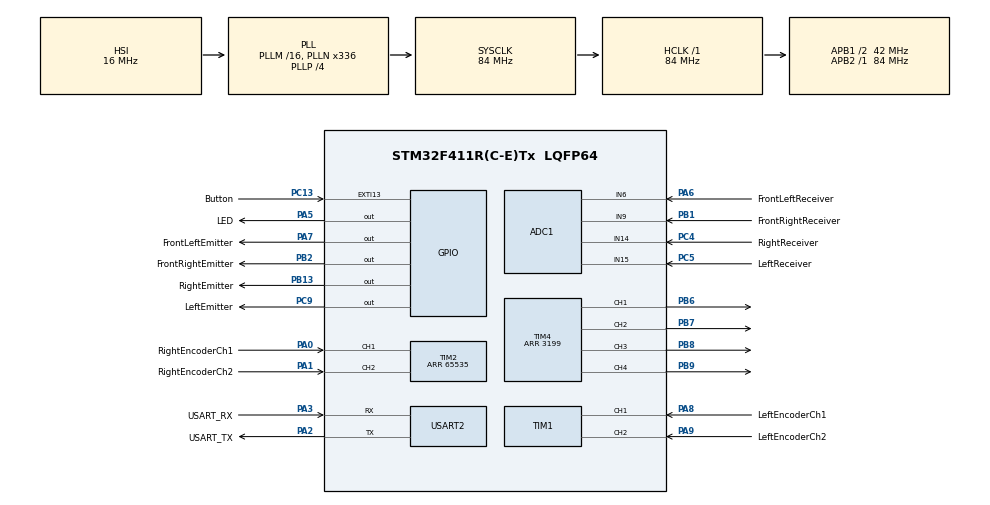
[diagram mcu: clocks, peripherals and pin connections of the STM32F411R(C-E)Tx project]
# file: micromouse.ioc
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ADC1.Channel-0\#ChannelRegularConversion=ADC_CHANNEL_15
ADC1.ContinuousConvMode=ENABLE
ADC1.DMAContinuousRequests=ENABLE
ADC1.NbrOfConversionFlag=1
ADC1.Rank-0\#ChannelRegularConversion=1
ADC1.SamplingTime-0\#ChannelRegularConversion=ADC_SAMPLETIME_3CYCLES
ADC1.master=1
Dma.ADC1.0.Direction=DMA_PERIPH_TO_MEMORY
Dma.ADC1.0.FIFOMode=DMA_FIFOMODE_DISABLE
Dma.ADC1.0.Instance=DMA2_Stream0
Dma.ADC1.0.MemDataAlignment=DMA_MDATAALIGN_HALFWORD
Dma.ADC1.0.MemInc=DMA_MINC_ENABLE
Dma.ADC1.0.Mode=DMA_CIRCULAR
Dma.ADC1.0.PeriphDataAlignment=DMA_PDATAALIGN_HALFWORD
Dma.ADC1.0.PeriphInc=DMA_PINC_DISABLE
Dma.ADC1.0.Priority=DMA_PRIORITY_LOW
Dma.Request0=ADC1
Mcu.Family=STM32F4
Mcu.Name=STM32F411R(C-E)Tx
Mcu.Package=LQFP64
NVIC.DMA2_Stream0_IRQn=true\:0\:0\:false\:false\:true\:false\:true\:true
NVIC.EXTI15_10_IRQn=true\:0\:0\:false\:false\:true\:true\:true\:true
NVIC.PriorityGroup=NVIC_PRIORITYGROUP_0
NVIC.TIM4_IRQn=true\:0\:0\:false\:false\:true\:true\:true\:true
PA0-WKUP.GPIO_Label=RightEncoderCh1
PA0-WKUP.Signal=S_TIM2_CH1_ETR
PA1.GPIO_Label=RightEncoderCh2
PA1.Signal=S_TIM2_CH2
PA13.GPIO_Label=TMS
PA13.Mode=Serial_Wire
PA13.Signal=SYS_JTMS-SWDIO
PA14.GPIO_Label=TCK
PA14.Mode=Serial_Wire
PA14.Signal=SYS_JTCK-SWCLK
PA2.GPIO_Label=USART_TX
PA2.Mode=Asynchronous
PA2.Signal=USART2_TX
PA3.GPIO_Label=USART_RX
PA3.Mode=Asynchronous
PA3.Signal=USART2_RX
PA5.GPIO_Label=LED
PA5.Signal=GPIO_Output
PA6.GPIO_Label=FrontLeftReceiver
PA6.Signal=ADCx_IN6
PA7.GPIO_Label=FrontLeftEmitter
PA7.Signal=GPIO_Output
PA8.GPIO_Label=LeftEncoderCh1
PA8.Signal=S_TIM1_CH1
PA9.GPIO_Label=LeftEncoderCh2
PA9.Signal=S_TIM1_CH2
PB1.GPIO_Label=FrontRightReceiver
PB1.Signal=ADCx_IN9
PB13.GPIO_Label=RightEmitter
PB13.Signal=GPIO_Output
PB2.GPIO_Label=FrontRightEmitter
PB2.Signal=GPIO_Output
PB3.GPIO_Label=SWO
PB3.Signal=SYS_JTDO-SWO
PB6.Signal=S_TIM4_CH1
PB7.Signal=S_TIM4_CH2
PB8.Signal=S_TIM4_CH3
PB9.Signal=S_TIM4_CH4
PC13-ANTI_TAMP.GPIO_Label=Button
PC13-ANTI_TAMP.GPIO_ModeDefaultEXTI=GPIO_MODE_IT_RISING_FALLING
PC13-ANTI_TAMP.Signal=GPXTI13
PC14-OSC32_IN.Mode=LSE-External-Oscillator
PC14-OSC32_IN.Signal=RCC_OSC32_IN
PC15-OSC32_OUT.Mode=LSE-External-Oscillator
PC15-OSC32_OUT.Signal=RCC_OSC32_OUT
PC4.GPIO_Label=RightReceiver
PC4.Signal=ADCx_IN14
PC5.GPIO_Label=LeftReceiver
PC5.Signal=ADCx_IN15
PC9.GPIO_Label=LeftEmitter
PC9.Signal=GPIO_Output
PH0\ -\ OSC_IN.Mode=HSE-External-Clock-Source
PH0\ -\ OSC_IN.Signal=RCC_OSC_IN
PH1\ -\ OSC_OUT.Mode=HSE-External-Clock-Source
PH1\ -\ OSC_OUT.Signal=RCC_OSC_OUT
ProjectManager.HeapSize=0x200
ProjectManager.StackSize=0x400
ProjectManager.TargetToolchain=STM32CubeIDE
RCC.48MHZClocksFreq_Value=84000000
RCC.AHBFreq_Value=84000000
RCC.APB1CLKDivider=RCC_HCLK_DIV2
RCC.APB1Freq_Value=42000000
RCC.APB1TimFreq_Value=84000000
RCC.APB2Freq_Value=84000000
RCC.APB2TimFreq_Value=84000000
RCC.CortexFreq_Value=84000000
RCC.FLatency-AdvancedSettings=FLASH_LATENCY_2
RCC.HCLKFreq_Value=84000000
RCC.HSE_VALUE=8000000
RCC.HSI_VALUE=16000000
RCC.PLLN=336
RCC.PLLP=RCC_PLLP_DIV4
RCC.SYSCLKFreq_VALUE=84000000
RCC.SYSCLKSource=RCC_SYSCLKSOURCE_PLLCLK
RCC.VCOOutputFreq_Value=336000000
SH.ADCx_IN14.0=ADC1_IN14,IN14
SH.ADCx_IN15.0=ADC1_IN15,IN15
SH.ADCx_IN6.0=ADC1_IN6,IN6
SH.ADCx_IN9.0=ADC1_IN9,IN9
SH.S_TIM1_CH1.0=TIM1_CH1,Encoder_Interface
SH.S_TIM1_CH2.0=TIM1_CH2,Encoder_Interface
SH.S_TIM2_CH1_ETR.0=TIM2_CH1,Encoder_Interface
SH.S_TIM2_CH2.0=TIM2_CH2,Encoder_Interface
SH.S_TIM4_CH1.0=TIM4_CH1,PWM Generation1 CH1
SH.S_TIM4_CH2.0=TIM4_CH2,PWM Generation2 CH2
SH.S_TIM4_CH3.0=TIM4_CH3,PWM Generation3 CH3
SH.S_TIM4_CH4.0=TIM4_CH4,PWM Generation4 CH4
TIM1.EncoderMode=TIM_ENCODERMODE_TI12
TIM2.EncoderMode=TIM_ENCODERMODE_TI12
TIM2.Period=65535
TIM4.Channel-PWM\ Generation1\ CH1=TIM_CHANNEL_1
TIM4.Channel-PWM\ Generation2\ CH2=TIM_CHANNEL_2
TIM4.Channel-PWM\ Generation3\ CH3=TIM_CHANNEL_3
TIM4.Channel-PWM\ Generation4\ CH4=TIM_CHANNEL_4
TIM4.Period=3199
USART2.VirtualMode=VM_ASYNC
board=NUCLEO-F411RE

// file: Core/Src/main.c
/* USER CODE BEGIN Header */
/**
  ******************************************************************************
  * @file           : main.c
  * @brief          : Main program body
  ******************************************************************************
  * @attention
  *
  * Copyright (c) 2023 STMicroelectronics.
  * All rights reserved.
  *
  * This software is licensed under terms that can be found in the LICENSE file
  * in the root directory of this software component.
  * If no LICENSE file comes with this software, it is provided AS-IS.
  *
  ******************************************************************************
  */
/* USER CODE END Header */
#include "main.h"

/* USER CODE BEGIN Includes */
#include "encoders.h"
#include "motors.h"
#include "controller.h"
#include "delay.h"

/* USER CODE END Includes */

ADC_HandleTypeDef hadc1;
DMA_HandleTypeDef hdma_adc1;

TIM_HandleTypeDef htim1;
TIM_HandleTypeDef htim2;
TIM_HandleTypeDef htim4;

UART_HandleTypeDef huart2;

/* USER CODE BEGIN PV */
int16_t left_counts = 0;
int16_t right_counts = 0;

/* USER CODE END PV */

void SystemClock_Config(void);
static void MX_GPIO_Init(void);
static void MX_DMA_Init(void);
static void MX_USART2_UART_Init(void);
static void MX_TIM1_Init(void);
static void MX_TIM2_Init(void);
static void MX_TIM4_Init(void);
static void MX_ADC1_Init(void);

int main(void)
{

  /* MCU Configuration--------------------------------------------------------*/

  /* Reset of all peripherals, Initializes the Flash interface and the Systick. */
  HAL_Init();

  /* USER CODE BEGIN Init */
  Delay_Init();
  /* USER CODE END Init */

  /* Configure the system clock */
  SystemClock_Config();

  /* Initialize all configured peripherals */
  MX_GPIO_Init();
  MX_DMA_Init();
  MX_USART2_UART_Init();
  MX_TIM1_Init();
  MX_TIM2_Init();
  MX_TIM4_Init();
  MX_ADC1_Init();
  /* USER CODE BEGIN 2 */
  // Encoders
  HAL_TIM_Encoder_Start(&htim1, TIM_CHANNEL_ALL);
  HAL_TIM_Encoder_Start(&htim2, TIM_CHANNEL_ALL);

  // PWM
  HAL_TIM_PWM_Start(&htim4, TIM_CHANNEL_1);
  HAL_TIM_PWM_Start(&htim4, TIM_CHANNEL_2);
  HAL_TIM_PWM_Start(&htim4, TIM_CHANNEL_3);
  HAL_TIM_PWM_Start(&htim4, TIM_CHANNEL_4);

  // Set motors
//  setMotorLPWM(0.5);
//  setMotorRPWM(-0.3);
  turn(1);
  HAL_Delay(500);
  turn(2);
  HAL_Delay(500);
  turn(3);
  HAL_Delay(500);
  turn(4);
  HAL_Delay(500);
  move(4);

  /* USER CODE END 2 */

  /* Infinite loop */
  /* USER CODE BEGIN WHILE */
  while (1)
  {
	 left_counts = getLeftEncoderCounts();
	 right_counts = getRightEncoderCounts();

    /* USER CODE END WHILE */

  }
}

void SystemClock_Config(void)
{
  RCC_OscInitTypeDef RCC_OscInitStruct = {0};
  RCC_ClkInitTypeDef RCC_ClkInitStruct = {0};

  /** Configure the main internal regulator output voltage
  */
  __HAL_RCC_PWR_CLK_ENABLE();
  __HAL_PWR_VOLTAGESCALING_CONFIG(PWR_REGULATOR_VOLTAGE_SCALE1);

  /** Initializes the RCC Oscillators according to the specified parameters
  * in the RCC_OscInitTypeDef structure.
  */
  RCC_OscInitStruct.OscillatorType = RCC_OSCILLATORTYPE_HSI;
  RCC_OscInitStruct.HSIState = RCC_HSI_ON;
  RCC_OscInitStruct.HSICalibrationValue = RCC_HSICALIBRATION_DEFAULT;
  RCC_OscInitStruct.PLL.PLLState = RCC_PLL_ON;
  RCC_OscInitStruct.PLL.PLLSource = RCC_PLLSOURCE_HSI;
  RCC_OscInitStruct.PLL.PLLM = 16;
  RCC_OscInitStruct.PLL.PLLN = 336;
  RCC_OscInitStruct.PLL.PLLP = RCC_PLLP_DIV4;
  RCC_OscInitStruct.PLL.PLLQ = 4;
  if (HAL_RCC_OscConfig(&RCC_OscInitStruct) != HAL_OK)
  {
    Error_Handler();
  }

  /** Initializes the CPU, AHB and APB buses clocks
  */
  RCC_ClkInitStruct.ClockType = RCC_CLOCKTYPE_HCLK|RCC_CLOCKTYPE_SYSCLK
                              |RCC_CLOCKTYPE_PCLK1|RCC_CLOCKTYPE_PCLK2;
  RCC_ClkInitStruct.SYSCLKSource = RCC_SYSCLKSOURCE_PLLCLK;
  RCC_ClkInitStruct.AHBCLKDivider = RCC_SYSCLK_DIV1;
  RCC_ClkInitStruct.APB1CLKDivider = RCC_HCLK_DIV2;
  RCC_ClkInitStruct.APB2CLKDivider = RCC_HCLK_DIV1;

  if (HAL_RCC_ClockConfig(&RCC_ClkInitStruct, FLASH_LATENCY_2) != HAL_OK)
  {
    Error_Handler();
  }
}

static void MX_ADC1_Init(void)
{

  ADC_ChannelConfTypeDef sConfig = {0};

  /** Configure the global features of the ADC (Clock, Resolution, Data Alignment and number of conversion)
  */
  hadc1.Instance = ADC1;
  hadc1.Init.ClockPrescaler = ADC_CLOCK_SYNC_PCLK_DIV4;
  hadc1.Init.Resolution = ADC_RESOLUTION_12B;
  hadc1.Init.ScanConvMode = DISABLE;
  hadc1.Init.ContinuousConvMode = ENABLE;
  hadc1.Init.DiscontinuousConvMode = DISABLE;
  hadc1.Init.ExternalTrigConvEdge = ADC_EXTERNALTRIGCONVEDGE_NONE;
  hadc1.Init.ExternalTrigConv = ADC_SOFTWARE_START;
  hadc1.Init.DataAlign = ADC_DATAALIGN_RIGHT;
  hadc1.Init.NbrOfConversion = 1;
  hadc1.Init.DMAContinuousRequests = ENABLE;
  hadc1.Init.EOCSelection = ADC_EOC_SINGLE_CONV;
  if (HAL_ADC_Init(&hadc1) != HAL_OK)
  {
    Error_Handler();
  }

  /** Configure for the selected ADC regular channel its corresponding rank in the sequencer and its sample time.
  */
  sConfig.Channel = ADC_CHANNEL_15;
  sConfig.Rank = 1;
  sConfig.SamplingTime = ADC_SAMPLETIME_3CYCLES;
  if (HAL_ADC_ConfigChannel(&hadc1, &sConfig) != HAL_OK)
  {
    Error_Handler();
  }

}

static void MX_TIM1_Init(void)
{

  TIM_Encoder_InitTypeDef sConfig = {0};
  TIM_MasterConfigTypeDef sMasterConfig = {0};

  htim1.Instance = TIM1;
  htim1.Init.Prescaler = 0;
  htim1.Init.CounterMode = TIM_COUNTERMODE_UP;
  htim1.Init.Period = 65535;
  htim1.Init.ClockDivision = TIM_CLOCKDIVISION_DIV1;
  htim1.Init.RepetitionCounter = 0;
  htim1.Init.AutoReloadPreload = TIM_AUTORELOAD_PRELOAD_DISABLE;
  sConfig.EncoderMode = TIM_ENCODERMODE_TI12;
  sConfig.IC1Polarity = TIM_ICPOLARITY_RISING;
  sConfig.IC1Selection = TIM_ICSELECTION_DIRECTTI;
  sConfig.IC1Prescaler = TIM_ICPSC_DIV1;
  sConfig.IC1Filter = 0;
  sConfig.IC2Polarity = TIM_ICPOLARITY_RISING;
  sConfig.IC2Selection = TIM_ICSELECTION_DIRECTTI;
  sConfig.IC2Prescaler = TIM_ICPSC_DIV1;
  sConfig.IC2Filter = 0;
  if (HAL_TIM_Encoder_Init(&htim1, &sConfig) != HAL_OK)
  {
    Error_Handler();
  }
  sMasterConfig.MasterOutputTrigger = TIM_TRGO_RESET;
  sMasterConfig.MasterSlaveMode = TIM_MASTERSLAVEMODE_DISABLE;
  if (HAL_TIMEx_MasterConfigSynchronization(&htim1, &sMasterConfig) != HAL_OK)
  {
    Error_Handler();
  }

}

static void MX_TIM2_Init(void)
{

  TIM_Encoder_InitTypeDef sConfig = {0};
  TIM_MasterConfigTypeDef sMasterConfig = {0};

  htim2.Instance = TIM2;
  htim2.Init.Prescaler = 0;
  htim2.Init.CounterMode = TIM_COUNTERMODE_UP;
  htim2.Init.Period = 65535;
  htim2.Init.ClockDivision = TIM_CLOCKDIVISION_DIV1;
  htim2.Init.AutoReloadPreload = TIM_AUTORELOAD_PRELOAD_DISABLE;
  sConfig.EncoderMode = TIM_ENCODERMODE_TI12;
  sConfig.IC1Polarity = TIM_ICPOLARITY_RISING;
  sConfig.IC1Selection = TIM_ICSELECTION_DIRECTTI;
  sConfig.IC1Prescaler = TIM_ICPSC_DIV1;
  sConfig.IC1Filter = 0;
  sConfig.IC2Polarity = TIM_ICPOLARITY_RISING;
  sConfig.IC2Selection = TIM_ICSELECTION_DIRECTTI;
  sConfig.IC2Prescaler = TIM_ICPSC_DIV1;
  sConfig.IC2Filter = 0;
  if (HAL_TIM_Encoder_Init(&htim2, &sConfig) != HAL_OK)
  {
    Error_Handler();
  }
  sMasterConfig.MasterOutputTrigger = TIM_TRGO_RESET;
  sMasterConfig.MasterSlaveMode = TIM_MASTERSLAVEMODE_DISABLE;
  if (HAL_TIMEx_MasterConfigSynchronization(&htim2, &sMasterConfig) != HAL_OK)
  {
    Error_Handler();
  }

}

static void MX_TIM4_Init(void)
{

  TIM_MasterConfigTypeDef sMasterConfig = {0};
  TIM_OC_InitTypeDef sConfigOC = {0};

  htim4.Instance = TIM4;
  htim4.Init.Prescaler = 0;
  htim4.Init.CounterMode = TIM_COUNTERMODE_UP;
  htim4.Init.Period = 3199;
  htim4.Init.ClockDivision = TIM_CLOCKDIVISION_DIV1;
  htim4.Init.AutoReloadPreload = TIM_AUTORELOAD_PRELOAD_DISABLE;
  if (HAL_TIM_PWM_Init(&htim4) != HAL_OK)
  {
    Error_Handler();
  }
  sMasterConfig.MasterOutputTrigger = TIM_TRGO_RESET;
  sMasterConfig.MasterSlaveMode = TIM_MASTERSLAVEMODE_DISABLE;
  if (HAL_TIMEx_MasterConfigSynchronization(&htim4, &sMasterConfig) != HAL_OK)
  {
    Error_Handler();
  }
  sConfigOC.OCMode = TIM_OCMODE_PWM1;
  sConfigOC.Pulse = 0;
  sConfigOC.OCPolarity = TIM_OCPOLARITY_HIGH;
  sConfigOC.OCFastMode = TIM_OCFAST_DISABLE;
  if (HAL_TIM_PWM_ConfigChannel(&htim4, &sConfigOC, TIM_CHANNEL_1) != HAL_OK)
  {
    Error_Handler();
  }
  if (HAL_TIM_PWM_ConfigChannel(&htim4, &sConfigOC, TIM_CHANNEL_2) != HAL_OK)
  {
    Error_Handler();
  }
  if (HAL_TIM_PWM_ConfigChannel(&htim4, &sConfigOC, TIM_CHANNEL_3) != HAL_OK)
  {
    Error_Handler();
  }
  if (HAL_TIM_PWM_ConfigChannel(&htim4, &sConfigOC, TIM_CHANNEL_4) != HAL_OK)
  {
    Error_Handler();
  }
  HAL_TIM_MspPostInit(&htim4);

}

static void MX_USART2_UART_Init(void)
{

  huart2.Instance = USART2;
  huart2.Init.BaudRate = 115200;
  huart2.Init.WordLength = UART_WORDLENGTH_8B;
  huart2.Init.StopBits = UART_STOPBITS_1;
  huart2.Init.Parity = UART_PARITY_NONE;
  huart2.Init.Mode = UART_MODE_TX_RX;
  huart2.Init.HwFlowCtl = UART_HWCONTROL_NONE;
  huart2.Init.OverSampling = UART_OVERSAMPLING_16;
  if (HAL_UART_Init(&huart2) != HAL_OK)
  {
    Error_Handler();
  }

}

static void MX_DMA_Init(void)
{

  /* DMA controller clock enable */
  __HAL_RCC_DMA2_CLK_ENABLE();

  /* DMA interrupt init */
  /* DMA2_Stream0_IRQn interrupt configuration */
  HAL_NVIC_SetPriority(DMA2_Stream0_IRQn, 0, 0);
  HAL_NVIC_EnableIRQ(DMA2_Stream0_IRQn);

}

static void MX_GPIO_Init(void)
{
  GPIO_InitTypeDef GPIO_InitStruct = {0};

  /* GPIO Ports Clock Enable */
  __HAL_RCC_GPIOC_CLK_ENABLE();
  __HAL_RCC_GPIOH_CLK_ENABLE();
  __HAL_RCC_GPIOA_CLK_ENABLE();
  __HAL_RCC_GPIOB_CLK_ENABLE();

  /*Configure GPIO pin Output Level */
  HAL_GPIO_WritePin(GPIOA, LED_Pin|FrontLeftEmitter_Pin, GPIO_PIN_RESET);

  /*Configure GPIO pin Output Level */
  HAL_GPIO_WritePin(GPIOB, FrontRightEmitter_Pin|RightEmitter_Pin, GPIO_PIN_RESET);

  /*Configure GPIO pin Output Level */
  HAL_GPIO_WritePin(LeftEmitter_GPIO_Port, LeftEmitter_Pin, GPIO_PIN_RESET);

  /*Configure GPIO pin : Button_Pin */
  GPIO_InitStruct.Pin = Button_Pin;
  GPIO_InitStruct.Mode = GPIO_MODE_IT_RISING_FALLING;
  GPIO_InitStruct.Pull = GPIO_NOPULL;
  HAL_GPIO_Init(Button_GPIO_Port, &GPIO_InitStruct);

  /*Configure GPIO pins : LED_Pin FrontLeftEmitter_Pin */
  GPIO_InitStruct.Pin = LED_Pin|FrontLeftEmitter_Pin;
  GPIO_InitStruct.Mode = GPIO_MODE_OUTPUT_PP;
  GPIO_InitStruct.Pull = GPIO_NOPULL;
  GPIO_InitStruct.Speed = GPIO_SPEED_FREQ_LOW;
  HAL_GPIO_Init(GPIOA, &GPIO_InitStruct);

  /*Configure GPIO pins : FrontRightEmitter_Pin RightEmitter_Pin */
  GPIO_InitStruct.Pin = FrontRightEmitter_Pin|RightEmitter_Pin;
  GPIO_InitStruct.Mode = GPIO_MODE_OUTPUT_PP;
  GPIO_InitStruct.Pull = GPIO_NOPULL;
  GPIO_InitStruct.Speed = GPIO_SPEED_FREQ_LOW;
  HAL_GPIO_Init(GPIOB, &GPIO_InitStruct);

  /*Configure GPIO pin : LeftEmitter_Pin */
  GPIO_InitStruct.Pin = LeftEmitter_Pin;
  GPIO_InitStruct.Mode = GPIO_MODE_OUTPUT_PP;
  GPIO_InitStruct.Pull = GPIO_NOPULL;
  GPIO_InitStruct.Speed = GPIO_SPEED_FREQ_LOW;
  HAL_GPIO_Init(LeftEmitter_GPIO_Port, &GPIO_InitStruct);

  /* EXTI interrupt init*/
  HAL_NVIC_SetPriority(EXTI15_10_IRQn, 0, 0);
  HAL_NVIC_EnableIRQ(EXTI15_10_IRQn);

}

/* USER CODE BEGIN 4 */
/**
 * This function is called whenever the MCU detects an interrupt.
 *
 * @param GPIO_PIN pin that triggered the interrupt
 */
void HAL_GPIO_EXTI_Callback(uint16_t GPIO_PIN)
{
	// Only handle the one button that is pressed
	if (GPIO_PIN == Button_Pin) {
		// A button that is pushed down has a state of `GPIO_PIN_RESET`
		// Turn on the LED when the button is pushed down
		if (HAL_GPIO_ReadPin(Button_GPIO_Port, Button_Pin) == GPIO_PIN_RESET) {
			HAL_GPIO_WritePin(LED_GPIO_Port, LED_Pin, GPIO_PIN_SET);
		} else {
			HAL_GPIO_WritePin(LED_GPIO_Port, LED_Pin, GPIO_PIN_RESET);
		}
	}
}

ADC_HandleTypeDef* Get_HADC1_Ptr(void)
{
	return &hadc1;
}

/* USER CODE END 4 */

void Error_Handler(void)
{
  __disable_irq();
  while (1)
  {
  }
}
